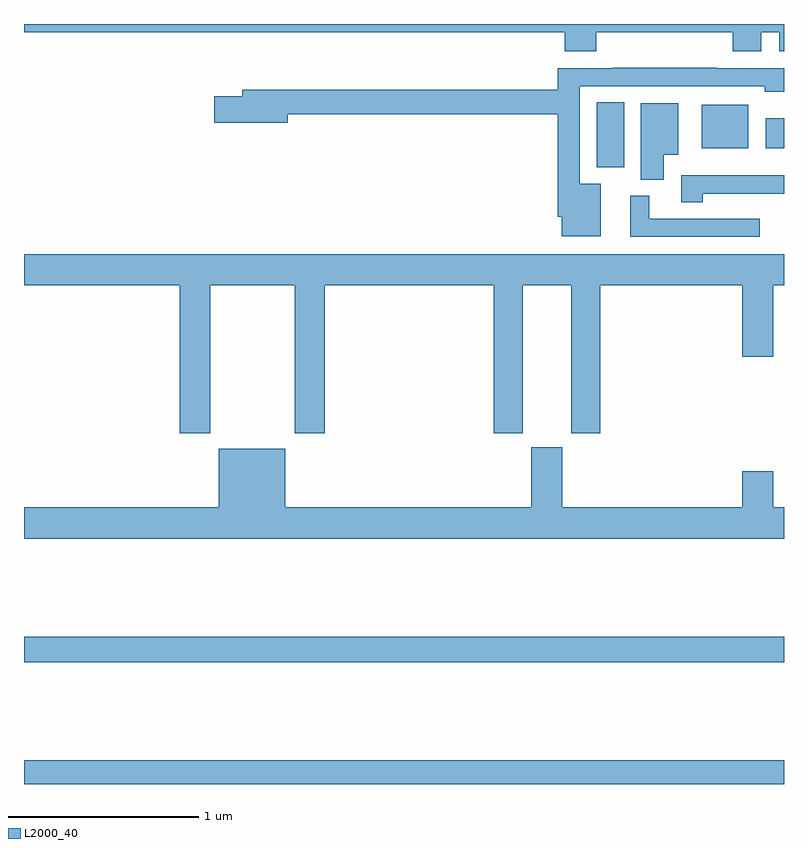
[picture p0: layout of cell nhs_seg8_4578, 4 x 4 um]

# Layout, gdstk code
import gdstk
lib = gdstk.Library(unit=1e-6, precision=1e-09)
def R(c, l, rs):  # rectangles x0, y0, x1, y1
    for r in rs: c.add(gdstk.rectangle(r[:2], r[2:], *l))
def P(c, l, *ps):  # polygons
    for p in ps: c.add(gdstk.Polygon(p, *l))
L2000_40 = (2000, 40)

nhs_seg8_4578 = lib.new_cell('nhs_seg8_4578')
R(nhs_seg8_4578, L2000_40, [(389,1089.9,393,1090.024), (389,1090.54,393,1090.676), (392.015,1093.145,392.158,1093.487), (392.567,1093.247,392.812,1093.474), (392.904,1093.247,393,1093.405)])
P(nhs_seg8_4578, L2000_40, [(392.012,1093.856),(392.729,1093.856),(392.729,1093.757),(392.881,1093.757),(392.881,1093.856),(392.975,1093.856),(392.975,1093.757),(393,1093.757),(393,1093.9),(389,1093.9),(389,1093.856),(391.847,1093.856),(391.847,1093.757),(392.012,1093.757)],
  [(392.035,1093.06),(391.926,1093.06),(391.926,1093.572),(392.898,1093.572),(392.898,1093.544),(393,1093.544),(393,1093.668),(392.645,1093.668),(392.645,1093.67),(392.095,1093.67),(392.095,1093.668),(391.81,1093.668),(391.81,1093.555),(390.149,1093.555),(390.149,1093.521),(390,1093.521),(390,1093.379),(390.388,1093.379),(390.388,1093.426),(391.81,1093.426),(391.81,1092.886),(391.829,1092.886),(391.829,1092.782),(392.035,1092.782)],
  [(392.368,1093.211),(392.443,1093.211),(392.443,1093.483),(392.246,1093.483),(392.246,1093.081),(392.368,1093.081)],
  [(392.573,1093.007),(393,1093.007),(393,1093.105),(392.46,1093.105),(392.46,1092.961),(392.573,1092.961)],
  [(392.872,1092.876),(392.29,1092.876),(392.29,1092.996),(392.192,1092.996),(392.192,1092.78),(392.872,1092.78)],
  [(389.979,1092.524),(390.424,1092.524),(390.424,1091.745),(390.584,1091.745),(390.584,1092.524),(391.472,1092.524),(391.472,1091.745),(391.624,1091.745),(391.624,1092.524),(391.88,1092.524),(391.88,1091.745),(392.033,1091.745),(392.033,1092.524),(392.78,1092.524),(392.78,1092.15),(392.944,1092.15),(392.944,1092.524),(393,1092.524),(393,1092.688),(389,1092.688),(389,1092.524),(389.819,1092.524),(389.819,1091.745),(389.979,1091.745)],
  [(393,1091.356),(392.944,1091.356),(392.944,1091.545),(392.78,1091.545),(392.78,1091.356),(391.834,1091.356),(391.834,1091.673),(391.67,1091.673),(391.67,1091.356),(390.376,1091.356),(390.376,1091.665),(390.026,1091.665),(390.026,1091.356),(389,1091.356),(389,1091.192),(393,1091.192)])

lib.write_gds('nhs_seg8_4578.gds')
